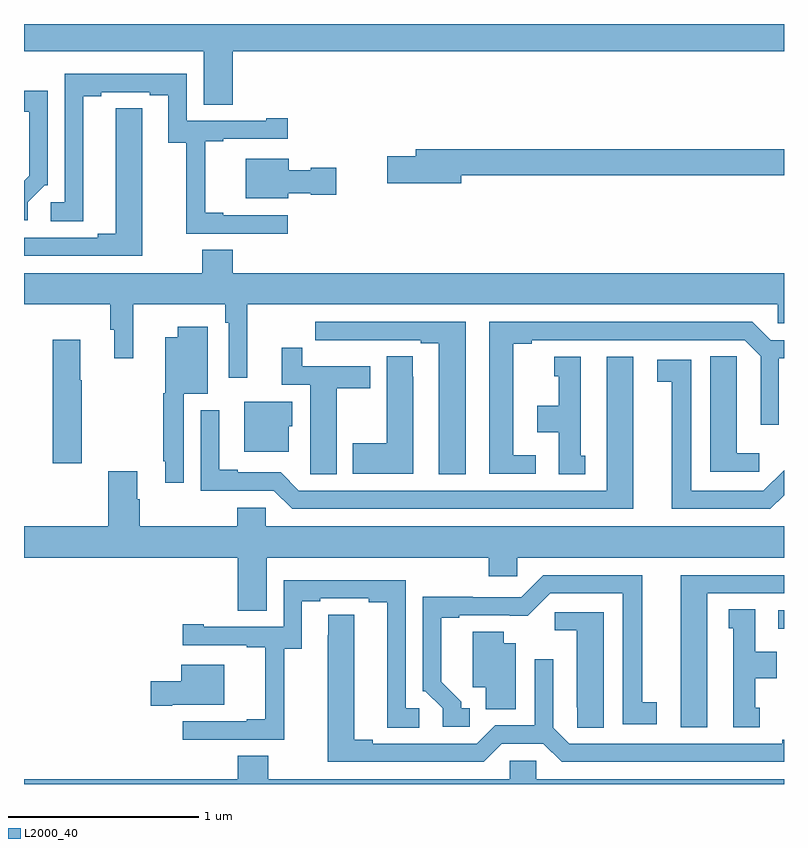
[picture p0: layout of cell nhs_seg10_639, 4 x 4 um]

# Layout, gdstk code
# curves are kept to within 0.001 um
import gdstk
lib = gdstk.Library(unit=1e-6, precision=1e-09)
def R(c, l, rs):  # rectangles x0, y0, x1, y1
    for r in rs: c.add(gdstk.rectangle(r[:2], r[2:], *l))
def P(c, l, *ps):  # polygons
    for p in ps: c.add(gdstk.Polygon(p, *l))
L2000_40 = (2000, 40)

nhs_seg10_639 = lib.new_cell('nhs_seg10_639')
R(nhs_seg10_639, L2000_40, [(146.97,1257.318,147,1257.414)])
P(nhs_seg10_639, L2000_40, [(144.098,1260.356),(147,1260.356),(147,1260.5),(143,1260.5),(143,1260.356),(143.945,1260.356),(143.945,1260.076),(144.098,1260.076)],
  [(144.388,1259.493),(144.049,1259.493),(144.049,1259.506),(143.954,1259.506),(143.954,1259.883),(144.049,1259.883),(144.049,1259.895),(144.388,1259.895),(144.388,1260.004),(144.275,1260.004),(144.275,1259.991),(143.856,1259.991),(143.856,1260.237),(143.214,1260.237),(143.214,1259.562),(143.142,1259.562),(143.142,1259.461),(143.311,1259.461),(143.311,1260.121),(143.407,1260.121),(143.407,1260.141),(143.663,1260.141),(143.663,1260.126),(143.759,1260.126),(143.759,1259.875),(143.854,1259.875),(143.854,1259.397),(144.388,1259.397)],
  [(143.019,1259.562),(143.109,1259.652),(143.124,1259.652),(143.124,1260.149),(143,1260.149),(143,1260.039),(143.027,1260.039),(143.027,1259.702),(143,1259.675),(143,1259.466),(143.019,1259.466)],
  [(143.623,1259.948),(143.622,1259.948),(143.622,1260.056),(143.483,1260.056),(143.483,1259.396),(143.387,1259.396),(143.387,1259.376),(143,1259.376),(143,1259.28),(143.623,1259.28)],
  [(145.3,1259.704),(147,1259.704),(147,1259.84),(145.061,1259.84),(145.061,1259.804),(144.912,1259.804),(144.912,1259.662),(145.3,1259.662)],
  [(144.39,1259.609),(144.51,1259.609),(144.51,1259.602),(144.643,1259.602),(144.643,1259.744),(144.51,1259.744),(144.51,1259.731),(144.394,1259.731),(144.394,1259.791),(144.167,1259.791),(144.167,1259.582),(144.39,1259.582)],
  [(144.176,1259.024),(146.967,1259.024),(146.967,1258.926),(147,1258.926),(147,1259.188),(144.098,1259.188),(144.098,1259.312),(143.938,1259.312),(143.938,1259.188),(143,1259.188),(143,1259.024),(143.455,1259.024),(143.455,1258.89),(143.474,1258.89),(143.474,1258.74),(143.574,1258.74),(143.574,1259.024),(144.058,1259.024),(144.058,1258.928),(144.078,1258.928),(144.078,1258.638),(144.176,1258.638)],
  [(145.693,1258.23),(145.576,1258.23),(145.576,1258.816),(145.672,1258.816),(145.672,1258.836),(146.793,1258.836),(146.877,1258.752),(146.877,1258.392),(146.973,1258.392),(146.973,1258.74),(147,1258.74),(147,1258.836),(146.929,1258.836),(146.833,1258.932),(145.448,1258.932),(145.448,1258.134),(145.693,1258.134)],
  [(145.324,1258.932),(144.534,1258.932),(144.534,1258.836),(144.646,1258.836),(144.646,1258.835),(144.812,1258.835),(144.812,1258.836),(145.088,1258.836),(145.088,1258.821),(145.184,1258.821),(145.184,1258.129),(145.324,1258.129)],
  [(143.841,1258.553),(143.968,1258.553),(143.968,1258.906),(143.81,1258.906),(143.81,1258.852),(143.744,1258.852),(143.744,1258.557),(143.733,1258.557),(143.733,1258.198),(143.744,1258.198),(143.744,1258.086),(143.841,1258.086)],
  [(143.304,1258.624),(143.296,1258.624),(143.296,1258.837),(143.15,1258.837),(143.15,1258.188),(143.304,1258.188)],
  [(144.646,1258.582),(144.823,1258.582),(144.823,1258.698),(144.464,1258.698),(144.464,1258.795),(144.356,1258.795),(144.356,1258.602),(144.506,1258.602),(144.506,1258.24),(144.507,1258.24),(144.507,1258.129),(144.646,1258.129)],
  [(145.048,1258.643),(145.047,1258.643),(145.047,1258.751),(144.908,1258.751),(144.908,1258.293),(144.731,1258.293),(144.731,1258.133),(145.048,1258.133)],
  [(146.869,1258.24),(146.752,1258.24),(146.752,1258.643),(146.751,1258.643),(146.751,1258.751),(146.612,1258.751),(146.612,1258.143),(146.869,1258.143)],
  [(146.206,1258.75),(146.066,1258.75),(146.066,1258.044),(144.447,1258.044),(144.351,1258.14),(144.124,1258.14),(144.124,1258.153),(144.028,1258.153),(144.028,1258.468),(143.931,1258.468),(143.931,1258.044),(144.315,1258.044),(144.411,1257.948),(146.206,1257.948)],
  [(145.954,1258.227),(145.93,1258.227),(145.93,1258.75),(145.79,1258.75),(145.79,1258.647),(145.814,1258.647),(145.814,1258.492),(145.7,1258.492),(145.7,1258.352),(145.814,1258.352),(145.814,1258.129),(145.954,1258.129)],
  [(147,1258.02),(147,1258.152),(146.892,1258.044),(146.512,1258.044),(146.512,1258.734),(146.334,1258.734),(146.334,1258.618),(146.408,1258.618),(146.408,1257.948),(146.928,1257.948)],
  [(144.394,1258.383),(144.412,1258.383),(144.412,1258.513),(144.158,1258.513),(144.158,1258.25),(144.394,1258.25)],
  [(144.277,1257.692),(145.445,1257.692),(145.445,1257.594),(145.596,1257.594),(145.596,1257.692),(147,1257.692),(147,1257.856),(144.273,1257.856),(144.273,1257.954),(144.122,1257.954),(144.122,1257.856),(143.609,1257.856),(143.609,1257.998),(143.596,1257.998),(143.596,1258.147),(143.444,1258.147),(143.444,1257.856),(143,1257.856),(143,1257.692),(144.125,1257.692),(144.125,1257.412),(144.277,1257.412)],
  [(145.345,1256.898),(145.3,1256.898),(145.3,1256.933),(145.195,1257.038),(145.195,1257.375),(145.291,1257.375),(145.291,1257.387),(145.652,1257.386),(145.77,1257.504),(146.15,1257.504),(146.15,1256.814),(146.329,1256.814),(146.329,1256.93),(146.254,1256.93),(146.254,1257.6),(145.734,1257.6),(145.617,1257.483),(145.361,1257.483),(145.361,1257.485),(145.098,1257.485),(145.098,1256.988),(145.113,1256.988),(145.203,1256.898),(145.203,1256.802),(145.345,1256.802)],
  [(146.596,1257.504),(147,1257.504),(147,1257.6),(146.456,1257.6),(146.456,1256.799),(146.596,1256.799)],
  [(144.369,1257.211),(144.463,1257.211),(144.463,1257.462),(144.559,1257.462),(144.559,1257.477),(144.815,1257.477),(144.815,1257.457),(144.911,1257.457),(144.911,1256.797),(145.081,1256.797),(145.081,1256.898),(145.008,1256.898),(145.008,1257.573),(144.366,1257.573),(144.366,1257.327),(143.947,1257.327),(143.947,1257.34),(143.835,1257.34),(143.835,1257.231),(144.173,1257.231),(144.173,1257.219),(144.269,1257.219),(144.269,1256.842),(144.173,1256.842),(144.173,1256.829),(143.835,1256.829),(143.835,1256.733),(144.369,1256.733)],
  [(146.872,1256.901),(146.848,1256.901),(146.848,1257.056),(146.962,1257.056),(146.962,1257.196),(146.848,1257.196),(146.848,1257.419),(146.708,1257.419),(146.708,1257.321),(146.732,1257.321),(146.732,1256.799),(146.872,1256.799)],
  [(146.05,1257.405),(145.794,1257.405),(145.794,1257.308),(145.91,1257.308),(145.91,1256.905),(145.911,1256.905),(145.911,1256.797),(146.05,1256.797)],
  [(145.515,1256.712),(145.733,1256.712),(145.829,1256.616),(147,1256.616),(147,1256.732),(146.99,1256.732),(146.99,1256.712),(145.869,1256.712),(145.785,1256.796),(145.785,1257.157),(145.689,1257.157),(145.689,1256.808),(145.479,1256.808),(145.383,1256.712),(144.835,1256.712),(144.835,1256.732),(144.739,1256.732),(144.739,1257.392),(144.6,1257.392),(144.599,1256.616),(145.419,1256.616)],
  [(145.588,1257.241),(145.525,1257.241),(145.525,1257.302),(145.361,1257.302),(145.361,1257.008),(145.43,1257.008),(145.43,1256.893),(145.588,1256.893)],
  [(143.779,1256.918),(144.055,1256.918),(144.055,1257.127),(143.828,1257.127),(143.828,1257.04),(143.667,1257.04),(143.667,1256.911),(143.779,1256.911)],
  [(147,1256.524),(145.695,1256.524),(145.695,1256.622),(145.557,1256.622),(145.557,1256.524),(144.285,1256.524),(144.285,1256.648),(144.125,1256.648),(144.125,1256.524),(143,1256.524),(143,1256.5),(147,1256.5)])

lib.write_gds('nhs_seg10_639.gds')
